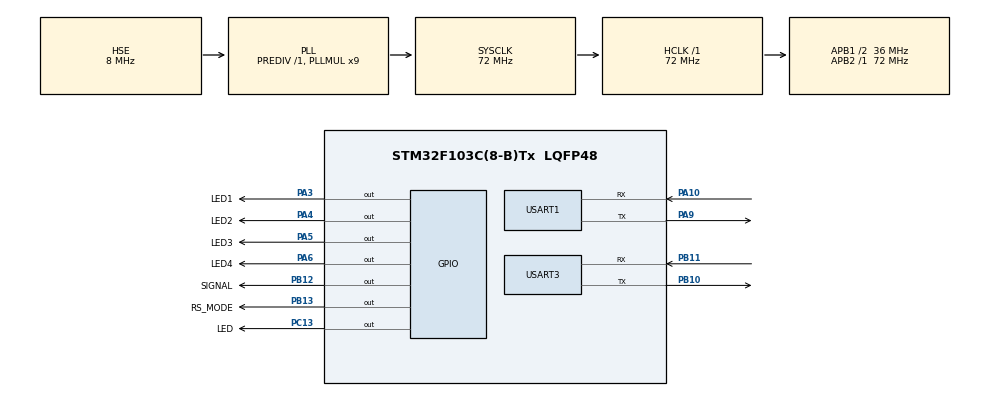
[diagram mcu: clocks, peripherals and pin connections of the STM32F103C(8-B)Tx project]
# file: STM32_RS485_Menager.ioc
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Mcu.Family=STM32F1
Mcu.Name=STM32F103C(8-B)Tx
Mcu.Package=LQFP48
NVIC.PriorityGroup=NVIC_PRIORITYGROUP_4
NVIC.USART1_IRQn=true\:0\:0\:false\:false\:true\:true\:true\:true
NVIC.USART3_IRQn=true\:0\:0\:false\:false\:true\:true\:true\:true
PA10.Mode=Asynchronous
PA10.Signal=USART1_RX
PA13.Mode=Serial_Wire
PA13.Signal=SYS_JTMS-SWDIO
PA14.Mode=Serial_Wire
PA14.Signal=SYS_JTCK-SWCLK
PA3.GPIO_Label=LED1
PA3.Signal=GPIO_Output
PA4.GPIO_Label=LED2
PA4.Signal=GPIO_Output
PA5.GPIO_Label=LED3
PA5.Signal=GPIO_Output
PA6.GPIO_Label=LED4
PA6.Signal=GPIO_Output
PA9.Mode=Asynchronous
PA9.Signal=USART1_TX
PB10.Mode=Asynchronous
PB10.Signal=USART3_TX
PB11.Mode=Asynchronous
PB11.Signal=USART3_RX
PB12.GPIO_Label=SIGNAL
PB12.Signal=GPIO_Output
PB13.GPIO_Label=RS_MODE
PB13.Signal=GPIO_Output
PC13-TAMPER-RTC.GPIO_Label=LED
PC13-TAMPER-RTC.Signal=GPIO_Output
PD0-OSC_IN.Mode=HSE-External-Oscillator
PD0-OSC_IN.Signal=RCC_OSC_IN
PD1-OSC_OUT.Mode=HSE-External-Oscillator
PD1-OSC_OUT.Signal=RCC_OSC_OUT
ProjectManager.HeapSize=0x200
ProjectManager.StackSize=0x400
ProjectManager.TargetToolchain=STM32CubeIDE
RCC.AHBFreq_Value=72000000
RCC.APB1CLKDivider=RCC_HCLK_DIV2
RCC.APB1Freq_Value=36000000
RCC.APB1TimFreq_Value=72000000
RCC.APB2Freq_Value=72000000
RCC.APB2TimFreq_Value=72000000
RCC.HCLKFreq_Value=72000000
RCC.PLLMUL=RCC_PLL_MUL9
RCC.PLLSourceVirtual=RCC_PLLSOURCE_HSE
RCC.SYSCLKFreq_VALUE=72000000
RCC.SYSCLKSource=RCC_SYSCLKSOURCE_PLLCLK
RCC.USBFreq_Value=48000000
RCC.USBPrescaler=RCC_USBCLKSOURCE_PLL_DIV1_5
USART1.VirtualMode=VM_ASYNC
USART3.VirtualMode=VM_ASYNC
board=custom

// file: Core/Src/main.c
/* USER CODE BEGIN Header */
/**
  ******************************************************************************
  * @file           : main.c
  * @brief          : Main program body
  ******************************************************************************
  * @attention
  *
  * Copyright (c) 2024 STMicroelectronics.
  * All rights reserved.
  *
  * This software is licensed under terms that can be found in the LICENSE file
  * in the root directory of this software component.
  * If no LICENSE file comes with this software, it is provided AS-IS.
  *
  ******************************************************************************
  */
/* USER CODE END Header */
#include "main.h"

/* USER CODE BEGIN Includes */
#include "string.h"
#include "stdlib.h"
#include "stdbool.h"
#define DATALEN 2
#define ADDRESS 0x00
/* USER CODE END Includes */

UART_HandleTypeDef huart1;
UART_HandleTypeDef huart3;

void SystemClock_Config(void);
static void MX_GPIO_Init(void);
static void MX_USART3_UART_Init(void);
static void MX_USART1_UART_Init(void);

/* USER CODE BEGIN 0 */

const int data_len = DATALEN;
uint8_t data[DATALEN] = {0,0};
int ind = 0;
GPIO_PinState state = 0;
uint8_t leds = 0x01;

int subdevices_count = 0;
uint8_t* addresses;
uint8_t* temp;
uint8_t* data_to_send;

void scanDevices(bool first){
  if(first)
	  addresses = (uint8_t *)malloc(sizeof(uint8_t) * 254);
  else{
      temp = realloc(addresses, 254 * sizeof(uint8_t));
      addresses = temp;
  }
  subdevices_count = 0;
  for(int i = 0; i < 253; ++i){
	data[0] = 0xFF;
	data[1] = i + 1;
	HAL_UART_Transmit(&huart1, data, data_len, 20);
	HAL_GPIO_WritePin(RS_MODE_GPIO_Port, RS_MODE_Pin, GPIO_PIN_RESET);
	if(HAL_UART_Receive(&huart1, data, 2, 20) == HAL_OK){
		addresses[subdevices_count++] = data[0];
	}
	HAL_GPIO_WritePin(RS_MODE_GPIO_Port, RS_MODE_Pin, GPIO_PIN_SET);
  }
  temp = realloc(addresses, subdevices_count * sizeof(uint8_t));
  addresses = temp;
  data_to_send = (uint8_t *)malloc(sizeof(uint8_t)*((subdevices_count + 1)*2));

}

void addDevice(uint8_t device_address) {
    for(int i = 0; i < subdevices_count; ++i){
	if(device_address == addresses[i])
	  return;
    }
    temp = realloc(addresses, (subdevices_count + 1) * sizeof(uint8_t));
    if (temp == NULL) {
        return;
    }

    addresses = temp;

    addresses[subdevices_count] = device_address;

    subdevices_count++;
    data_to_send = (uint8_t *)malloc(sizeof(uint8_t)*((subdevices_count + 1)*2));

}

/* USER CODE END 0 */

int main(void)
{

  /* MCU Configuration--------------------------------------------------------*/

  /* Reset of all peripherals, Initializes the Flash interface and the Systick. */
  HAL_Init();

  /* Configure the system clock */
  SystemClock_Config();

  /* Initialize all configured peripherals */
  MX_GPIO_Init();
  MX_USART3_UART_Init();
  MX_USART1_UART_Init();
  /* USER CODE BEGIN 2 */
  uint32_t tm = 0;
  HAL_GPIO_WritePin(RS_MODE_GPIO_Port, RS_MODE_Pin, GPIO_PIN_SET);

//  Look for devices - scanning the bus
  scanDevices(true);

  /* USER CODE END 2 */

  /* Infinite loop */
  /* USER CODE BEGIN WHILE */
  while (1)
  {
	  for(int i = 0; i < 4; ++i){
		  HAL_GPIO_WritePin(LED1_GPIO_Port, LED1_Pin<<i, (leds>>i & 0x01));
	  }
	  if(HAL_UART_Receive(&huart3,  data, data_len, 20) == HAL_OK)
	  {
		HAL_GPIO_TogglePin(LED_GPIO_Port, LED_Pin);
		if(data[0] == ADDRESS){
			leds = data[1] & 0x0F;
		}
		//get all adresses value
		else if(data[0] == 0xFF && data[1] == 0xFF){
			int j = 0;
			data_to_send[0] = 0;
			data_to_send[1] = leds;
			for(int i = 0; i < subdevices_count; ++i){
			    data[0] = 0xFF;
			    data[1] = addresses[i];
			    HAL_UART_Transmit(&huart1, data, data_len, 20);
			    HAL_GPIO_WritePin(RS_MODE_GPIO_Port, RS_MODE_Pin, GPIO_PIN_RESET);
			    if(HAL_UART_Receive(&huart1, data, 2, 40) == HAL_OK){
			      data_to_send[(i - j + 1) * 2] = data[0];
			      data_to_send[(i - j + 1) * 2 + 1] = data[1];
			      HAL_GPIO_WritePin(RS_MODE_GPIO_Port, RS_MODE_Pin, GPIO_PIN_SET);
			    }
			    else{
			      j++;
			      HAL_GPIO_WritePin(RS_MODE_GPIO_Port, RS_MODE_Pin, GPIO_PIN_SET);
			    }
			}
			HAL_UART_Transmit(&huart3, data_to_send, (subdevices_count + 1 - j)*2, HAL_MAX_DELAY);

		}
		//scan adresses
		else if(data[0] == 0xFF && data[1] == 0xFE){
			scanDevices(false);
		}
		else if(data[0] == 0xFE){
		    addDevice(data[1]);
		}
		//get one address state
		else if(data[0] == 0xFF){
			int exists = 0;
			if(data[1] == ADDRESS)
				HAL_UART_Transmit(&huart3, &leds, 1, HAL_MAX_DELAY);
			else if(data[1] != ADDRESS){
				for(int i = 0; i < subdevices_count; ++i)
					if(data[1] == addresses[i]) exists = 1;
				if(exists == 1){
					HAL_UART_Transmit(&huart1, data, data_len, 20);
					HAL_GPIO_WritePin(RS_MODE_GPIO_Port, RS_MODE_Pin, GPIO_PIN_RESET);
					HAL_UART_Receive(&huart1, data, 2, 40);
					data_to_send[0] = data[1];
					HAL_GPIO_WritePin(RS_MODE_GPIO_Port, RS_MODE_Pin, GPIO_PIN_SET);
					HAL_UART_Transmit(&huart3, data_to_send, 1, HAL_MAX_DELAY);
				}
			}

		}
		else{
			HAL_UART_Transmit(&huart1, data, data_len, HAL_MAX_DELAY);

		}
		tm = HAL_GetTick();
		while(HAL_GetTick() - tm < 200);
	  }
//	  while(HAL_GetTick() - time < 100);H
//	  time = HAL_GetTick();
    /* USER CODE END WHILE */

  }
}

void SystemClock_Config(void)
{
  RCC_OscInitTypeDef RCC_OscInitStruct = {0};
  RCC_ClkInitTypeDef RCC_ClkInitStruct = {0};

  /** Initializes the RCC Oscillators according to the specified parameters
  * in the RCC_OscInitTypeDef structure.
  */
  RCC_OscInitStruct.OscillatorType = RCC_OSCILLATORTYPE_HSE;
  RCC_OscInitStruct.HSEState = RCC_HSE_ON;
  RCC_OscInitStruct.HSEPredivValue = RCC_HSE_PREDIV_DIV1;
  RCC_OscInitStruct.HSIState = RCC_HSI_ON;
  RCC_OscInitStruct.PLL.PLLState = RCC_PLL_ON;
  RCC_OscInitStruct.PLL.PLLSource = RCC_PLLSOURCE_HSE;
  RCC_OscInitStruct.PLL.PLLMUL = RCC_PLL_MUL9;
  if (HAL_RCC_OscConfig(&RCC_OscInitStruct) != HAL_OK)
  {
    Error_Handler();
  }

  /** Initializes the CPU, AHB and APB buses clocks
  */
  RCC_ClkInitStruct.ClockType = RCC_CLOCKTYPE_HCLK|RCC_CLOCKTYPE_SYSCLK
                              |RCC_CLOCKTYPE_PCLK1|RCC_CLOCKTYPE_PCLK2;
  RCC_ClkInitStruct.SYSCLKSource = RCC_SYSCLKSOURCE_PLLCLK;
  RCC_ClkInitStruct.AHBCLKDivider = RCC_SYSCLK_DIV1;
  RCC_ClkInitStruct.APB1CLKDivider = RCC_HCLK_DIV2;
  RCC_ClkInitStruct.APB2CLKDivider = RCC_HCLK_DIV1;

  if (HAL_RCC_ClockConfig(&RCC_ClkInitStruct, FLASH_LATENCY_2) != HAL_OK)
  {
    Error_Handler();
  }
}

static void MX_USART1_UART_Init(void)
{

  huart1.Instance = USART1;
  huart1.Init.BaudRate = 115200;
  huart1.Init.WordLength = UART_WORDLENGTH_8B;
  huart1.Init.StopBits = UART_STOPBITS_1;
  huart1.Init.Parity = UART_PARITY_NONE;
  huart1.Init.Mode = UART_MODE_TX_RX;
  huart1.Init.HwFlowCtl = UART_HWCONTROL_NONE;
  huart1.Init.OverSampling = UART_OVERSAMPLING_16;
  if (HAL_UART_Init(&huart1) != HAL_OK)
  {
    Error_Handler();
  }

}

static void MX_USART3_UART_Init(void)
{

  huart3.Instance = USART3;
  huart3.Init.BaudRate = 115200;
  huart3.Init.WordLength = UART_WORDLENGTH_8B;
  huart3.Init.StopBits = UART_STOPBITS_1;
  huart3.Init.Parity = UART_PARITY_NONE;
  huart3.Init.Mode = UART_MODE_TX_RX;
  huart3.Init.HwFlowCtl = UART_HWCONTROL_NONE;
  huart3.Init.OverSampling = UART_OVERSAMPLING_16;
  if (HAL_UART_Init(&huart3) != HAL_OK)
  {
    Error_Handler();
  }

}

static void MX_GPIO_Init(void)
{
  GPIO_InitTypeDef GPIO_InitStruct = {0};

  /* GPIO Ports Clock Enable */
  __HAL_RCC_GPIOC_CLK_ENABLE();
  __HAL_RCC_GPIOD_CLK_ENABLE();
  __HAL_RCC_GPIOA_CLK_ENABLE();
  __HAL_RCC_GPIOB_CLK_ENABLE();

  /*Configure GPIO pin Output Level */
  HAL_GPIO_WritePin(LED_GPIO_Port, LED_Pin, GPIO_PIN_RESET);

  /*Configure GPIO pin Output Level */
  HAL_GPIO_WritePin(GPIOA, LED1_Pin|LED2_Pin|LED3_Pin|LED4_Pin, GPIO_PIN_RESET);

  /*Configure GPIO pin Output Level */
  HAL_GPIO_WritePin(GPIOB, SIGNAL_Pin|RS_MODE_Pin, GPIO_PIN_RESET);

  /*Configure GPIO pin : LED_Pin */
  GPIO_InitStruct.Pin = LED_Pin;
  GPIO_InitStruct.Mode = GPIO_MODE_OUTPUT_PP;
  GPIO_InitStruct.Pull = GPIO_NOPULL;
  GPIO_InitStruct.Speed = GPIO_SPEED_FREQ_LOW;
  HAL_GPIO_Init(LED_GPIO_Port, &GPIO_InitStruct);

  /*Configure GPIO pins : LED1_Pin LED2_Pin LED3_Pin LED4_Pin */
  GPIO_InitStruct.Pin = LED1_Pin|LED2_Pin|LED3_Pin|LED4_Pin;
  GPIO_InitStruct.Mode = GPIO_MODE_OUTPUT_PP;
  GPIO_InitStruct.Pull = GPIO_NOPULL;
  GPIO_InitStruct.Speed = GPIO_SPEED_FREQ_LOW;
  HAL_GPIO_Init(GPIOA, &GPIO_InitStruct);

  /*Configure GPIO pins : SIGNAL_Pin RS_MODE_Pin */
  GPIO_InitStruct.Pin = SIGNAL_Pin|RS_MODE_Pin;
  GPIO_InitStruct.Mode = GPIO_MODE_OUTPUT_PP;
  GPIO_InitStruct.Pull = GPIO_NOPULL;
  GPIO_InitStruct.Speed = GPIO_SPEED_FREQ_LOW;
  HAL_GPIO_Init(GPIOB, &GPIO_InitStruct);

}

void Error_Handler(void)
{
  __disable_irq();
  while (1)
  {
  }
}
